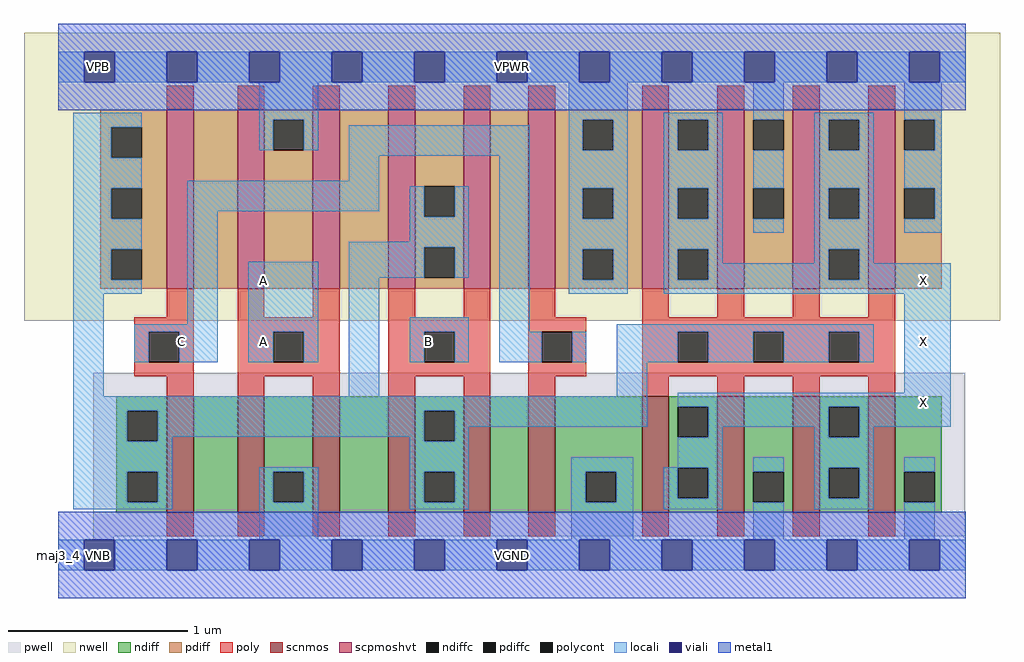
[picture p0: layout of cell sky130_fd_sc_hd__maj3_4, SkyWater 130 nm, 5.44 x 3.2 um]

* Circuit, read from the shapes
.subckt sky130_fd_sc_hd__maj3_4 A B C VGND VNB VPB VPWR X
XM1 n1 C n2 VNB sky130_fd_pr__nfet_01v8 w=0.65 l=0.15
XM2 VGND A n1 VNB sky130_fd_pr__nfet_01v8 w=0.65 l=0.15
XM3 n3 A VGND VNB sky130_fd_pr__nfet_01v8 w=0.65 l=0.15
XM4 n2 B n3 VNB sky130_fd_pr__nfet_01v8 w=0.65 l=0.15
XM5 n4 B n2 VNB sky130_fd_pr__nfet_01v8 w=0.65 l=0.15
XM6 VGND C n4 VNB sky130_fd_pr__nfet_01v8 w=0.65 l=0.15
XM7 X n2 VGND VNB sky130_fd_pr__nfet_01v8 w=0.65 l=0.15 m=4
XM8 n5 C n2 VPB sky130_fd_pr__pfet_01v8_hvt w=1 l=0.15
XM9 VPWR A n5 VPB sky130_fd_pr__pfet_01v8_hvt w=1 l=0.15
XM10 n6 A VPWR VPB sky130_fd_pr__pfet_01v8_hvt w=1 l=0.15
XM11 n2 B n6 VPB sky130_fd_pr__pfet_01v8_hvt w=1 l=0.15
XM12 n7 B n2 VPB sky130_fd_pr__pfet_01v8_hvt w=1 l=0.15
XM13 VPWR C n7 VPB sky130_fd_pr__pfet_01v8_hvt w=1 l=0.15
XM14 X n2 VPWR VPB sky130_fd_pr__pfet_01v8_hvt w=1 l=0.15 m=4
.ends

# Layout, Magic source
magic
tech sky130B
magscale 1 2
<< nwell >>
rect -38 261 1050 582
<< pwell >>
rect 39 21 1011 203
rect 39 17 62 21
rect 28 -17 62 17
<< scnmos >>
rect 121 47 151 177
rect 200 47 230 177
rect 284 47 314 177
rect 368 47 398 177
rect 452 47 482 177
rect 524 47 554 177
rect 651 47 681 177
rect 735 47 765 177
rect 819 47 849 177
rect 903 47 933 177
<< scpmoshvt >>
rect 121 297 151 497
rect 200 297 230 497
rect 284 297 314 497
rect 368 297 398 497
rect 452 297 482 497
rect 524 297 554 497
rect 651 297 681 497
rect 735 297 765 497
rect 819 297 849 497
rect 903 297 933 497
<< ndiff >>
rect 65 161 121 177
rect 65 127 77 161
rect 111 127 121 161
rect 65 93 121 127
rect 65 59 77 93
rect 111 59 121 93
rect 65 47 121 59
rect 151 47 200 177
rect 230 93 284 177
rect 230 59 240 93
rect 274 59 284 93
rect 230 47 284 59
rect 314 47 368 177
rect 398 161 452 177
rect 398 127 408 161
rect 442 127 452 161
rect 398 93 452 127
rect 398 59 408 93
rect 442 59 452 93
rect 398 47 452 59
rect 482 47 524 177
rect 554 93 651 177
rect 554 59 588 93
rect 622 59 651 93
rect 554 47 651 59
rect 681 165 735 177
rect 681 131 691 165
rect 725 131 735 165
rect 681 97 735 131
rect 681 63 691 97
rect 725 63 735 97
rect 681 47 735 63
rect 765 93 819 177
rect 765 59 775 93
rect 809 59 819 93
rect 765 47 819 59
rect 849 165 903 177
rect 849 131 859 165
rect 893 131 903 165
rect 849 97 903 131
rect 849 63 859 97
rect 893 63 903 97
rect 849 47 903 63
rect 933 93 985 177
rect 933 59 943 93
rect 977 59 985 93
rect 933 47 985 59
<< pdiff >>
rect 47 477 121 497
rect 47 443 59 477
rect 93 443 121 477
rect 47 409 121 443
rect 47 375 59 409
rect 93 375 121 409
rect 47 341 121 375
rect 47 307 59 341
rect 93 307 121 341
rect 47 297 121 307
rect 151 297 200 497
rect 230 485 284 497
rect 230 451 240 485
rect 274 451 284 485
rect 230 297 284 451
rect 314 297 368 497
rect 398 411 452 497
rect 398 377 408 411
rect 442 377 452 411
rect 398 343 452 377
rect 398 309 408 343
rect 442 309 452 343
rect 398 297 452 309
rect 482 297 524 497
rect 554 485 651 497
rect 554 451 585 485
rect 619 451 651 485
rect 554 409 651 451
rect 554 375 585 409
rect 619 375 651 409
rect 554 341 651 375
rect 554 307 585 341
rect 619 307 651 341
rect 554 297 651 307
rect 681 485 735 497
rect 681 451 691 485
rect 725 451 735 485
rect 681 409 735 451
rect 681 375 691 409
rect 725 375 735 409
rect 681 341 735 375
rect 681 307 691 341
rect 725 307 735 341
rect 681 297 735 307
rect 765 485 819 497
rect 765 451 775 485
rect 809 451 819 485
rect 765 409 819 451
rect 765 375 775 409
rect 809 375 819 409
rect 765 297 819 375
rect 849 485 903 497
rect 849 451 859 485
rect 893 451 903 485
rect 849 409 903 451
rect 849 375 859 409
rect 893 375 903 409
rect 849 341 903 375
rect 849 307 859 341
rect 893 307 903 341
rect 849 297 903 307
rect 933 485 985 497
rect 933 451 943 485
rect 977 451 985 485
rect 933 409 985 451
rect 933 375 943 409
rect 977 375 985 409
rect 933 297 985 375
<< ndiffc >>
rect 77 127 111 161
rect 77 59 111 93
rect 240 59 274 93
rect 408 127 442 161
rect 408 59 442 93
rect 588 59 622 93
rect 691 131 725 165
rect 691 63 725 97
rect 775 59 809 93
rect 859 131 893 165
rect 859 63 893 97
rect 943 59 977 93
<< pdiffc >>
rect 59 443 93 477
rect 59 375 93 409
rect 59 307 93 341
rect 240 451 274 485
rect 408 377 442 411
rect 408 309 442 343
rect 585 451 619 485
rect 585 375 619 409
rect 585 307 619 341
rect 691 451 725 485
rect 691 375 725 409
rect 691 307 725 341
rect 775 451 809 485
rect 775 375 809 409
rect 859 451 893 485
rect 859 375 893 409
rect 859 307 893 341
rect 943 451 977 485
rect 943 375 977 409
<< poly >>
rect 121 497 151 523
rect 200 497 230 523
rect 284 497 314 523
rect 368 497 398 523
rect 452 497 482 523
rect 524 497 554 523
rect 651 497 681 523
rect 735 497 765 523
rect 819 497 849 523
rect 903 497 933 523
rect 121 265 151 297
rect 85 249 151 265
rect 85 215 101 249
rect 135 215 151 249
rect 85 199 151 215
rect 121 177 151 199
rect 200 265 230 297
rect 284 265 314 297
rect 200 249 314 265
rect 200 215 240 249
rect 274 215 314 249
rect 200 199 314 215
rect 200 177 230 199
rect 284 177 314 199
rect 368 265 398 297
rect 452 265 482 297
rect 368 249 482 265
rect 368 215 408 249
rect 442 215 482 249
rect 368 199 482 215
rect 368 177 398 199
rect 452 177 482 199
rect 524 265 554 297
rect 651 265 681 297
rect 735 265 765 297
rect 819 265 849 297
rect 903 265 933 297
rect 524 249 589 265
rect 524 215 539 249
rect 573 215 589 249
rect 524 199 589 215
rect 651 249 933 265
rect 651 215 691 249
rect 725 215 775 249
rect 809 215 859 249
rect 893 215 933 249
rect 651 199 933 215
rect 524 177 554 199
rect 651 177 681 199
rect 735 177 765 199
rect 819 177 849 199
rect 903 177 933 199
rect 121 21 151 47
rect 200 21 230 47
rect 284 21 314 47
rect 368 21 398 47
rect 452 21 482 47
rect 524 21 554 47
rect 651 21 681 47
rect 735 21 765 47
rect 819 21 849 47
rect 903 21 933 47
<< polycont >>
rect 101 215 135 249
rect 240 215 274 249
rect 408 215 442 249
rect 539 215 573 249
rect 691 215 725 249
rect 775 215 809 249
rect 859 215 893 249
<< locali >>
rect 0 527 29 561
rect 63 527 121 561
rect 155 527 213 561
rect 247 527 305 561
rect 339 527 397 561
rect 431 527 489 561
rect 523 527 581 561
rect 615 527 673 561
rect 707 527 765 561
rect 799 527 857 561
rect 891 527 949 561
rect 983 527 1012 561
rect 17 477 93 493
rect 17 443 59 477
rect 224 485 290 527
rect 224 451 240 485
rect 274 451 290 485
rect 569 485 635 527
rect 17 409 93 443
rect 324 445 526 479
rect 324 417 358 445
rect 17 375 59 409
rect 17 341 93 375
rect 17 307 59 341
rect 17 291 93 307
rect 144 383 358 417
rect 17 177 51 291
rect 144 257 178 383
rect 392 377 408 411
rect 442 377 458 411
rect 392 349 458 377
rect 324 343 458 349
rect 85 249 178 257
rect 85 215 101 249
rect 135 215 178 249
rect 212 249 290 327
rect 212 215 240 249
rect 274 215 290 249
rect 324 309 408 343
rect 442 309 458 343
rect 324 177 358 309
rect 392 249 458 265
rect 392 215 408 249
rect 442 215 458 249
rect 492 249 526 445
rect 569 451 585 485
rect 619 451 635 485
rect 569 409 635 451
rect 569 375 585 409
rect 619 375 635 409
rect 569 341 635 375
rect 569 307 585 341
rect 619 307 635 341
rect 569 291 635 307
rect 675 485 741 493
rect 675 451 691 485
rect 725 451 741 485
rect 675 409 741 451
rect 675 375 691 409
rect 725 375 741 409
rect 675 341 741 375
rect 775 485 809 527
rect 775 409 809 451
rect 775 359 809 375
rect 843 485 909 493
rect 843 451 859 485
rect 893 451 909 485
rect 843 409 909 451
rect 843 375 859 409
rect 893 375 909 409
rect 675 307 691 341
rect 725 325 741 341
rect 843 341 909 375
rect 943 485 985 527
rect 977 451 985 485
rect 943 409 985 451
rect 977 375 985 409
rect 943 359 985 375
rect 843 325 859 341
rect 725 307 859 325
rect 893 325 909 341
rect 893 307 995 325
rect 675 291 995 307
rect 623 249 909 257
rect 492 215 539 249
rect 573 215 589 249
rect 623 215 691 249
rect 725 215 775 249
rect 809 215 859 249
rect 893 215 909 249
rect 623 177 657 215
rect 943 181 995 291
rect 17 161 657 177
rect 17 127 77 161
rect 111 132 408 161
rect 111 127 127 132
rect 17 93 127 127
rect 392 127 408 132
rect 442 143 657 161
rect 691 165 995 181
rect 442 127 458 143
rect 17 59 77 93
rect 111 59 127 93
rect 17 51 127 59
rect 224 93 290 98
rect 224 59 240 93
rect 274 59 290 93
rect 224 17 290 59
rect 392 93 458 127
rect 725 143 859 165
rect 725 131 741 143
rect 392 59 408 93
rect 442 59 458 93
rect 392 51 458 59
rect 572 93 641 109
rect 691 98 741 131
rect 843 131 859 143
rect 893 143 995 165
rect 893 131 909 143
rect 572 59 588 93
rect 622 59 641 93
rect 572 17 641 59
rect 675 97 741 98
rect 675 63 691 97
rect 725 63 741 97
rect 675 51 741 63
rect 775 93 809 109
rect 775 17 809 59
rect 843 97 909 131
rect 843 63 859 97
rect 893 63 909 97
rect 843 51 909 63
rect 943 93 977 109
rect 943 17 977 59
rect 0 -17 29 17
rect 63 -17 121 17
rect 155 -17 213 17
rect 247 -17 305 17
rect 339 -17 397 17
rect 431 -17 489 17
rect 523 -17 581 17
rect 615 -17 673 17
rect 707 -17 765 17
rect 799 -17 857 17
rect 891 -17 949 17
rect 983 -17 1012 17
<< viali >>
rect 29 527 63 561
rect 121 527 155 561
rect 213 527 247 561
rect 305 527 339 561
rect 397 527 431 561
rect 489 527 523 561
rect 581 527 615 561
rect 673 527 707 561
rect 765 527 799 561
rect 857 527 891 561
rect 949 527 983 561
rect 29 -17 63 17
rect 121 -17 155 17
rect 213 -17 247 17
rect 305 -17 339 17
rect 397 -17 431 17
rect 489 -17 523 17
rect 581 -17 615 17
rect 673 -17 707 17
rect 765 -17 799 17
rect 857 -17 891 17
rect 949 -17 983 17
<< metal1 >>
rect 0 561 1012 592
rect 0 527 29 561
rect 63 527 121 561
rect 155 527 213 561
rect 247 527 305 561
rect 339 527 397 561
rect 431 527 489 561
rect 523 527 581 561
rect 615 527 673 561
rect 707 527 765 561
rect 799 527 857 561
rect 891 527 949 561
rect 983 527 1012 561
rect 0 496 1012 527
rect 0 17 1012 48
rect 0 -17 29 17
rect 63 -17 121 17
rect 155 -17 213 17
rect 247 -17 305 17
rect 339 -17 397 17
rect 431 -17 489 17
rect 523 -17 581 17
rect 615 -17 673 17
rect 707 -17 765 17
rect 799 -17 857 17
rect 891 -17 949 17
rect 983 -17 1012 17
rect 0 -48 1012 -17
<< labels >>
flabel locali s 948 221 982 255 0 FreeSans 250 0 0 0 X
port 8 nsew signal output
flabel locali s 948 289 982 323 0 FreeSans 250 0 0 0 X
port 8 nsew signal output
flabel locali s 396 221 430 255 0 FreeSans 340 0 0 0 B
port 2 nsew signal input
flabel locali s 121 221 155 255 0 FreeSans 340 0 0 0 C
port 3 nsew signal input
flabel locali s 212 221 246 255 0 FreeSans 340 0 0 0 A
port 1 nsew signal input
flabel locali s 212 289 246 323 0 FreeSans 340 0 0 0 A
port 1 nsew signal input
flabel locali s 948 153 982 187 0 FreeSans 250 0 0 0 X
port 8 nsew signal output
flabel nwell s 28 527 62 561 0 FreeSans 200 0 0 0 VPB
port 6 nsew power bidirectional
flabel pwell s 28 -17 62 17 0 FreeSans 200 0 0 0 VNB
port 5 nsew ground bidirectional
flabel metal1 s 28 -17 62 17 0 FreeSans 200 0 0 0 VGND
port 4 nsew ground bidirectional abutment
flabel metal1 s 28 527 62 561 0 FreeSans 200 0 0 0 VPWR
port 7 nsew power bidirectional abutment
rlabel comment s 0 0 0 0 4 maj3_4
rlabel metal1 s 0 -48 1012 48 1 VGND
port 4 nsew ground bidirectional abutment
rlabel metal1 s 0 496 1012 592 1 VPWR
port 7 nsew power bidirectional abutment
<< properties >>
string FIXED_BBOX 0 0 1012 544
string GDS_END 1663280
string GDS_FILE $PDKPATH/libs.ref/sky130_fd_sc_hd/gds/sky130_fd_sc_hd.gds
string GDS_START 1655410
string LEFclass CORE
string LEFsite unithd
string LEFsymmetry X Y R90
string path 0.000 0.000 25.300 0.000 
<< end >>
